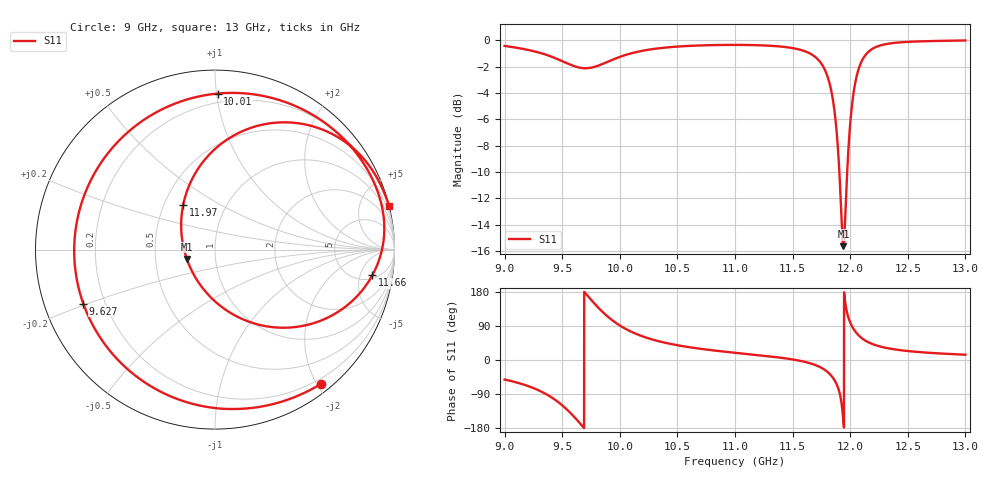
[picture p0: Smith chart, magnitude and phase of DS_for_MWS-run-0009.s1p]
! TOUCHSTONE file generated by CST DESIGN STUDIO
! Date and time: Tue Feb  4 15:38:55 2025
! Project name: C:\Work\MatlabApps\UnitCellOptimizationMatlab\CST\unitcell.cst
! Tree item: Tasks\Sweep1\SPara1\S-Parameters
! Header version: 2024
! Port assignment regex: !\s*Touchstone port\s*([0-9]+)\s*=\s*(CST MWS port|CST DES external port|CST DES block port)\s*(.+)\s* \(\"(.*)\"\)(\s*mode\s*([0-9]+))?.*
! Touchstone port assignment:
! Touchstone port 1 = CST DES external port 1 ("")
# GHz S MA R 50
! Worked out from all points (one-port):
!   4001 points, 9 GHz to 13 GHz, reference 50 ohm
!   lowest |S11| = -15.6 dB at 11.94 GHz (marker M1), VSWR 1.40, Z = 36.3 - j3.94 ohm
!   |S11| at or under -10 dB: 11.91 GHz to 11.97 GHz (67.93 MHz wide, 0.569 % of centre)
!   S11 on the Smith chart (normalised r, x): 9 GHz: 0.13, -2.06; 9.627 GHz: 0.12, -0.19; 10.01 GHz: 0.14, +1.01; 11.66 GHz: 5.94, -8.04; 11.97 GHz: 0.63, +0.34; 13 GHz: -0.01, +8.16
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9  0.9534 -51.6
9.26  0.9088 -75.3
9.395  0.8719 -96.2
9.5  0.8346 -119.5
9.627  0.7932 -157.7
9.724  0.7851 168.3
9.832  0.8082 132.3
9.911  0.8358 110.5
10  0.8662 91.1
10.011  0.8696 89.0
10.226  0.9189 59.4
10.5  0.9479 39.0
11  0.9622 19.1
11.5  0.9356 1.5
11.659  0.8884 -9.2
11.775  0.7819 -25.1
11.858  0.5635 -50.5
11.9  0.3514 -78.1
11.941  0.1653 -161.4
11.972  0.3039 125.8
12  0.4825 99.1
12.031  0.6402 81.1
12.065  0.7578 67.6
12.118  0.8623 53.8
12.178  0.9204 44.0
12.303  0.9674 32.5
12.5  0.9879 23.7
13  1 14.0
